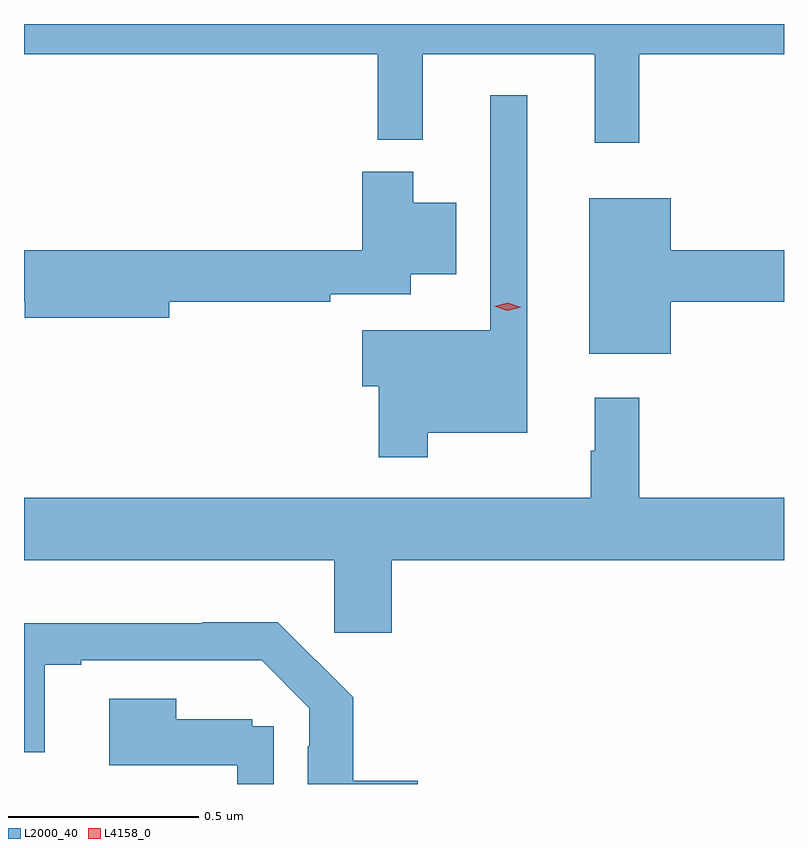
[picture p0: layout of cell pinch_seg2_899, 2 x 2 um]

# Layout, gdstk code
import gdstk
lib = gdstk.Library(unit=1e-6, precision=1e-09)
def P(c, l, *ps):  # polygons
    for p in ps: c.add(gdstk.Polygon(p, *l))
L2000_40 = (2000, 40)
L4158_0 = (4158, 0)

pinch_seg2_899 = lib.new_cell('pinch_seg2_899')
P(pinch_seg2_899, L2000_40, [(496.409,593.024),(496.79,593.024),(496.79,593.103),(494.79,593.103),(494.79,593.024),(495.721,593.024),(495.721,592.799),(495.839,592.799),(495.839,593.024),(496.292,593.024),(496.292,592.791),(496.409,592.791)],
  [(495.853,592.028),(496.114,592.028),(496.114,592.915),(496.017,592.915),(496.017,592.297),(495.68,592.297),(495.68,592.15),(495.724,592.15),(495.724,591.963),(495.853,591.963)],
  [(495.172,592.372),(495.596,592.372),(495.596,592.392),(495.808,592.392),(495.808,592.445),(495.928,592.445),(495.928,592.633),(495.814,592.633),(495.814,592.714),(495.68,592.714),(495.68,592.508),(494.79,592.508),(494.79,592.372),(494.792,592.372),(494.792,592.33),(495.172,592.33)],
  [(496.492,592.372),(496.79,592.372),(496.79,592.508),(496.492,592.508),(496.492,592.645),(496.277,592.645),(496.277,592.235),(496.492,592.235)],
  [(495.758,591.692),(496.79,591.692),(496.79,591.856),(496.409,591.856),(496.409,592.12),(496.292,592.12),(496.292,591.98),(496.281,591.98),(496.281,591.856),(494.79,591.856),(494.79,591.692),(495.607,591.692),(495.607,591.501),(495.758,591.501)],
  [(495.826,591.112),(495.656,591.112),(495.656,591.331),(495.458,591.529),(495.259,591.529),(495.259,591.526),(494.79,591.526),(494.79,591.186),(494.845,591.186),(494.845,591.417),(494.941,591.417),(494.941,591.429),(495.415,591.429),(495.54,591.303),(495.54,591.203),(495.537,591.203),(495.537,591.103),(495.826,591.103)],
  [(495.447,591.255),(495.39,591.255),(495.39,591.274),(495.19,591.274),(495.19,591.328),(495.014,591.328),(495.014,591.152),(495.351,591.152),(495.351,591.103),(495.447,591.103)])
P(pinch_seg2_899, L4158_0, [(496.062,592.349),(496.028,592.36),(496.027,592.36),(496.028,592.36),(496.063,592.369),(496.098,592.358),(496.098,592.357),(496.098,592.357)])

lib.write_gds('pinch_seg2_899.gds')
